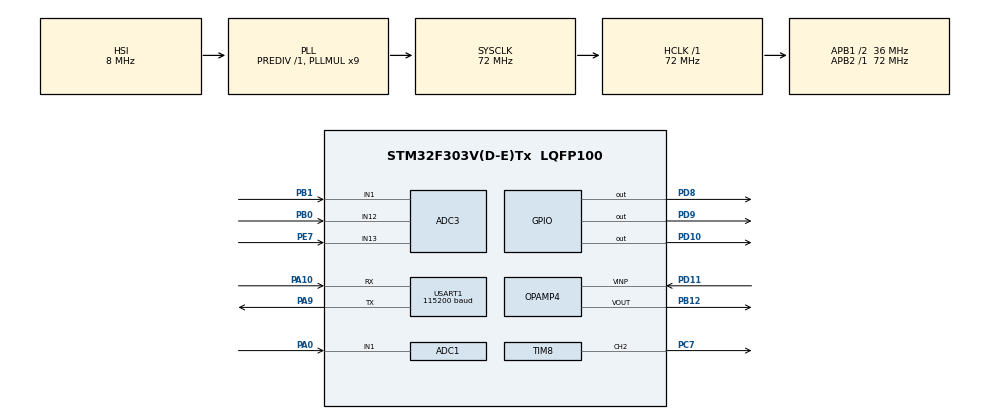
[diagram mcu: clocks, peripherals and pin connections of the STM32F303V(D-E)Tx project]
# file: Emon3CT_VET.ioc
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ADC1.Channel-0\#ChannelRegularConversion=ADC_CHANNEL_1
ADC1.ClockPrescaler=ADC_CLOCK_SYNC_PCLK_DIV2
ADC1.ContinuousConvMode=ENABLE
ADC1.DMAContinuousRequests=ENABLE
ADC1.DataAlign=ADC_DATAALIGN_RIGHT
ADC1.DiscontinuousConvMode=DISABLE
ADC1.EOCSelection=ADC_EOC_SEQ_CONV
ADC1.EnableAnalogWatchDog1=false
ADC1.EnableAnalogWatchDog2=false
ADC1.EnableAnalogWatchDog3=false
ADC1.EnableInjectedConversion=ENABLE
ADC1.EnableRegularConversion=ENABLE
ADC1.ExternalTrigConv=ADC_EXTERNALTRIGCONV_T8_TRGO2
ADC1.ExternalTrigConvEdge=ADC_EXTERNALTRIGCONVEDGE_RISING
ADC1.InjNumberOfConversion=0
ADC1.LowPowerAutoWait=DISABLE
ADC1.NbrOfConversion=1
ADC1.NbrOfConversionFlag=1
ADC1.Offset-0\#ChannelRegularConversion=0
ADC1.OffsetNumber-0\#ChannelRegularConversion=ADC_OFFSET_NONE
ADC1.Overrun=ADC_OVR_DATA_OVERWRITTEN
ADC1.Rank-0\#ChannelRegularConversion=1
ADC1.Resolution=ADC_RESOLUTION_12B
ADC1.SamplingTime-0\#ChannelRegularConversion=ADC_SAMPLETIME_601CYCLES_5
ADC1.ScanConvMode=ADC_SCAN_DISABLE
ADC1.master=1
ADC3.Channel-0\#ChannelRegularConversion=ADC_CHANNEL_12
ADC3.Channel-1\#ChannelRegularConversion=ADC_CHANNEL_1
ADC3.Channel-2\#ChannelRegularConversion=ADC_CHANNEL_13
ADC3.ClockPrescaler=ADC_CLOCK_SYNC_PCLK_DIV2
ADC3.ContinuousConvMode=ENABLE
ADC3.DMAContinuousRequests=ENABLE
ADC3.EOCSelection=ADC_EOC_SEQ_CONV
ADC3.ExternalTrigConv=ADC_EXTERNALTRIGCONV_T8_TRGO2
ADC3.NbrOfConversion=3
ADC3.NbrOfConversionFlag=1
ADC3.Offset-0\#ChannelRegularConversion=0
ADC3.Offset-1\#ChannelRegularConversion=0
ADC3.Offset-2\#ChannelRegularConversion=0
ADC3.OffsetNumber-0\#ChannelRegularConversion=ADC_OFFSET_NONE
ADC3.OffsetNumber-1\#ChannelRegularConversion=ADC_OFFSET_NONE
ADC3.OffsetNumber-2\#ChannelRegularConversion=ADC_OFFSET_NONE
ADC3.Rank-0\#ChannelRegularConversion=1
ADC3.Rank-1\#ChannelRegularConversion=2
ADC3.Rank-2\#ChannelRegularConversion=3
ADC3.SamplingTime-0\#ChannelRegularConversion=ADC_SAMPLETIME_601CYCLES_5
ADC3.SamplingTime-1\#ChannelRegularConversion=ADC_SAMPLETIME_601CYCLES_5
ADC3.SamplingTime-2\#ChannelRegularConversion=ADC_SAMPLETIME_601CYCLES_5
ADC3.master=1
Dma.ADC1.1.Direction=DMA_PERIPH_TO_MEMORY
Dma.ADC1.1.Instance=DMA1_Channel1
Dma.ADC1.1.MemDataAlignment=DMA_MDATAALIGN_HALFWORD
Dma.ADC1.1.MemInc=DMA_MINC_ENABLE
Dma.ADC1.1.Mode=DMA_CIRCULAR
Dma.ADC1.1.PeriphDataAlignment=DMA_PDATAALIGN_HALFWORD
Dma.ADC1.1.PeriphInc=DMA_PINC_DISABLE
Dma.ADC1.1.Priority=DMA_PRIORITY_HIGH
Dma.ADC3.0.Direction=DMA_PERIPH_TO_MEMORY
Dma.ADC3.0.Instance=DMA2_Channel5
Dma.ADC3.0.MemDataAlignment=DMA_MDATAALIGN_HALFWORD
Dma.ADC3.0.MemInc=DMA_MINC_ENABLE
Dma.ADC3.0.Mode=DMA_CIRCULAR
Dma.ADC3.0.PeriphDataAlignment=DMA_PDATAALIGN_HALFWORD
Dma.ADC3.0.PeriphInc=DMA_PINC_DISABLE
Dma.ADC3.0.Priority=DMA_PRIORITY_HIGH
Dma.Request0=ADC3
Dma.Request1=ADC1
Mcu.Family=STM32F3
Mcu.Name=STM32F303V(D-E)Tx
Mcu.Package=LQFP100
NVIC.DMA1_Channel1_IRQn=true\:0\:0\:false\:false\:true\:false
NVIC.DMA2_Channel5_IRQn=true\:0\:0\:false\:false\:true\:false
NVIC.PriorityGroup=NVIC_PRIORITYGROUP_4
PA0.Mode=IN1-Single-Ended
PA0.Signal=ADC1_IN1
PA10.Mode=Asynchronous
PA10.Signal=USART1_RX
PA9.Mode=Asynchronous
PA9.Signal=USART1_TX
PB0.Mode=IN12-Single-Ended
PB0.Signal=ADC3_IN12
PB1.Mode=IN1-Single-Ended
PB1.Signal=ADC3_IN1
PB12.Mode=Follower
PB12.Signal=OPAMP4_VOUT
PC7.Signal=S_TIM8_CH2
PD10.Signal=GPIO_Output
PD11.Mode=Follower
PD11.Signal=OPAMP4_VINP
PD8.Signal=GPIO_Output
PD9.Signal=GPIO_Output
PE7.Mode=IN13-Single-Ended
PE7.Signal=ADC3_IN13
PF0-OSC_IN.Mode=HSE-External-Oscillator
PF0-OSC_IN.Signal=RCC_OSC_IN
PF1-OSC_OUT.Mode=HSE-External-Oscillator
PF1-OSC_OUT.Signal=RCC_OSC_OUT
ProjectManager.HeapSize=0x200
ProjectManager.StackSize=0x400
ProjectManager.TargetToolchain=Makefile
RCC.AHBFreq_Value=72000000
RCC.APB1CLKDivider=RCC_HCLK_DIV2
RCC.APB1Freq_Value=36000000
RCC.APB1TimFreq_Value=72000000
RCC.APB2Freq_Value=72000000
RCC.APB2TimFreq_Value=72000000
RCC.CortexFreq_Value=72000000
RCC.HCLKFreq_Value=72000000
RCC.HSE_VALUE=8000000
RCC.HSI_VALUE=8000000
RCC.LSE_VALUE=32768
RCC.PLLMUL=RCC_PLL_MUL9
RCC.SYSCLKFreq_VALUE=72000000
RCC.SYSCLKSourceVirtual=RCC_SYSCLKSOURCE_PLLCLK
RCC.USBFreq_Value=72000000
SH.S_TIM8_CH2.0=TIM8_CH2,PWM Generation2 CH2
TIM8.Channel-PWM\ Generation2\ CH2=TIM_CHANNEL_2
TIM8.Period=9999
TIM8.Prescaler=71
TIM8.TIM_MasterOutputTrigger2=TIM_TRGO2_OC2REF
USART1.BaudRate=115200
USART1.VirtualMode-Asynchronous=VM_ASYNC
board=custom

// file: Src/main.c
/**
  ******************************************************************************
  * @file           : main.c
  * @brief          : Main program body
  ******************************************************************************
  ** This notice applies to any and all portions of this file
  * that are not between comment pairs USER CODE BEGIN and
  * USER CODE END. Other portions of this file, whether
  * inserted by the user or by software development tools
  * are owned by their respective copyright owners.
  *
  * COPYRIGHT(c) 2020 STMicroelectronics
  *
  * Redistribution and use in source and binary forms, with or without modification,
  * are permitted provided that the following conditions are met:
  *   1. Redistributions of source code must retain the above copyright notice,
  *      this list of conditions and the following disclaimer.
  *   2. Redistributions in binary form must reproduce the above copyright notice,
  *      this list of conditions and the following disclaimer in the documentation
  *      and/or other materials provided with the distribution.
  *   3. Neither the name of STMicroelectronics nor the names of its contributors
  *      may be used to endorse or promote products derived from this software
  *      without specific prior written permission.
  *
  * THIS SOFTWARE IS PROVIDED BY THE COPYRIGHT HOLDERS AND CONTRIBUTORS "AS IS"
  * AND ANY EXPRESS OR IMPLIED WARRANTIES, INCLUDING, BUT NOT LIMITED TO, THE
  * IMPLIED WARRANTIES OF MERCHANTABILITY AND FITNESS FOR A PARTICULAR PURPOSE ARE
  * DISCLAIMED. IN NO EVENT SHALL THE COPYRIGHT HOLDER OR CONTRIBUTORS BE LIABLE
  * FOR ANY DIRECT, INDIRECT, INCIDENTAL, SPECIAL, EXEMPLARY, OR CONSEQUENTIAL
  * DAMAGES (INCLUDING, BUT NOT LIMITED TO, PROCUREMENT OF SUBSTITUTE GOODS OR
  * SERVICES; LOSS OF USE, DATA, OR PROFITS; OR BUSINESS INTERRUPTION) HOWEVER
  * CAUSED AND ON ANY THEORY OF LIABILITY, WHETHER IN CONTRACT, STRICT LIABILITY,
  * OR TORT (INCLUDING NEGLIGENCE OR OTHERWISE) ARISING IN ANY WAY OUT OF THE USE
  * OF THIS SOFTWARE, EVEN IF ADVISED OF THE POSSIBILITY OF SUCH DAMAGE.
  *
  ******************************************************************************
  */
#include "main.h"
#include "stm32f3xx_hal.h"
#include "adc.h"
#include "dma.h"
#include "opamp.h"
#include "tim.h"
#include "usart.h"
#include "gpio.h"

/* USER CODE BEGIN Includes */
#include <string.h>
#include <math.h>
/* USER CODE END Includes */

/* USER CODE BEGIN PV */
/* Private variables ---------------------------------------------------------*/

#define true 1
#define false 0
#define MID_ADC_READING 2048

// Serial output buffer
char log_buffer[100];

// Flag
int8_t readings_ready = false;

// Calibration
double VCAL = 268.97;
double ICAL = 90.91;

// ISR accumulators
typedef struct channel_ {
  int64_t sum_P;
  uint64_t sum_V_sq;
  uint64_t sum_I_sq;
  int64_t sum_V;
  int64_t sum_I;
  uint64_t count;

  uint8_t positive_V;
  uint8_t last_positive_V;
  uint8_t cycles;
} channel_t;

static channel_t channels[3];
static channel_t channels_copy[3];

/* USER CODE END PV */

void SystemClock_Config(void);

/* USER CODE BEGIN PFP */
/* Private function prototypes -----------------------------------------------*/

/* USER CODE END PFP */

/* USER CODE BEGIN 0 */
void process_frame(uint16_t offset)
{
  int32_t sample_V, sample_I, signed_V, signed_I;

  // HAL_GPIO_WritePin(GPIOB, GPIO_PIN_5, GPIO_PIN_SET);
  for (int i=0; i<3000; i+=3) {
    // Cycle through channels
    for (int n=0; n<3; n++) {
      channel_t* channel = &channels[n];

      // ----------------------------------------
      // Voltage
      sample_V = adc1_dma_buff[offset+i+n];
      signed_V = sample_V - MID_ADC_READING;
      channel->sum_V += signed_V;
      channel->sum_V_sq += signed_V * signed_V;
      // ----------------------------------------
      // Current
      sample_I = adc3_dma_buff[offset+i+n];
      signed_I = sample_I - MID_ADC_READING;
      channel->sum_I += signed_I;
      channel->sum_I_sq += signed_I * signed_I;
      // ----------------------------------------
      // Power
      channel->sum_P += signed_V * signed_I;

      channel->count ++;

      // Zero crossing detection
      channel->last_positive_V = channel->positive_V;
      if (signed_V > 0) channel->positive_V = true; else channel->positive_V = false;
      if (!channel->last_positive_V && channel->positive_V) channel->cycles++;

      // 125 cycles or 2.5 seconds
      if (channel->cycles>=125) {
        channel->cycles = 0;

        channel_t* channel_copy = &channels_copy[n];
        // Copy accumulators for use in main loop
        memcpy ((void*)channel_copy, (void*)channel, sizeof(channel_t));
        // Reset accumulators to zero ready for next set of measurements
        memset((void*)channel, 0, sizeof(channel_t));

        if (n==2) {
          readings_ready = true;
        }
      }
    }
  }
  // HAL_GPIO_WritePin(GPIOB, GPIO_PIN_5, GPIO_PIN_RESET);
}

/* USER CODE END 0 */

int main(void)
{

  /* MCU Configuration----------------------------------------------------------*/

  /* Reset of all peripherals, Initializes the Flash interface and the Systick. */
  HAL_Init();

  /* USER CODE BEGIN Init */
  double V_RATIO = VCAL * (3.3 / 4096.0);
  double I_RATIO = ICAL * (3.3 / 4096.0);
  /* USER CODE END Init */

  /* Configure the system clock */
  SystemClock_Config();

  /* Initialize all configured peripherals */
  MX_GPIO_Init();
  MX_DMA_Init();
  MX_USART1_UART_Init();
  MX_ADC1_Init();
  MX_ADC3_Init();
  MX_TIM8_Init();
  MX_OPAMP4_Init();
  /* USER CODE BEGIN 2 */

  HAL_OPAMP_Start(&hopamp4);

  sprintf(log_buffer,"CH\tVrms\tIrms\tRP\tAP\tPF\tCount\r\n");
  debug_printf(log_buffer);

  start_ADCs();

  /* USER CODE END 2 */

  /* Infinite loop */
  /* USER CODE BEGIN WHILE */
  while (1)
  {
    if (conv_hfcplt_flag) {
      conv_hfcplt_flag = false;
      process_frame(0);
    }

    if (conv_cplt_flag)  {
      conv_cplt_flag = false;
      process_frame(3000);
    }

     if (readings_ready) {
       readings_ready = false;

       for (int n=0; n<3; n++) {
         channel_t* chn = &channels_copy[n];

         double Vmean = chn->sum_V * (1.0 / chn->count);
         double Imean = chn->sum_I * (1.0 / chn->count);

         chn->sum_V_sq *= (1.0 / chn->count);
         chn->sum_V_sq -= (Vmean*Vmean);
         double Vrms = V_RATIO * sqrt((double)chn->sum_V_sq);

         chn->sum_I_sq *= (1.0 / chn->count);
         chn->sum_I_sq -= (Imean*Imean);
         double Irms = I_RATIO * sqrt((double)chn->sum_I_sq);

         double mean_P = (chn->sum_P * (1.0 / chn->count)) - (Vmean*Imean);
         double realPower = V_RATIO * I_RATIO * mean_P;

         double apparentPower = Vrms * Irms;
         double powerFactor = realPower / apparentPower;
         /*
         Vrms = 242;
         Irms = 1;
         realPower = 100;
         apparentPower = 200;
         powerFactor = 2;*/

         sprintf(log_buffer,"CH:%d\t%.2f\t%.3f\t%.1f\t%.1f\t%.3f\t%d\r\n", n, Vrms, Irms, realPower, apparentPower, powerFactor, chn->count);
         debug_printf(log_buffer);

       }

       sprintf(log_buffer,"\r\n");
       debug_printf(log_buffer);
     }
  /* USER CODE END WHILE */

  }

}

void SystemClock_Config(void)
{

  RCC_OscInitTypeDef RCC_OscInitStruct;
  RCC_ClkInitTypeDef RCC_ClkInitStruct;
  RCC_PeriphCLKInitTypeDef PeriphClkInit;

    /**Initializes the CPU, AHB and APB busses clocks
    */
  RCC_OscInitStruct.OscillatorType = RCC_OSCILLATORTYPE_HSI;
  RCC_OscInitStruct.HSIState = RCC_HSI_ON;
  RCC_OscInitStruct.HSICalibrationValue = 16;
  RCC_OscInitStruct.PLL.PLLState = RCC_PLL_ON;
  RCC_OscInitStruct.PLL.PLLSource = RCC_PLLSOURCE_HSI;
  RCC_OscInitStruct.PLL.PLLMUL = RCC_PLL_MUL9;
  RCC_OscInitStruct.PLL.PREDIV = RCC_PREDIV_DIV1;
  if (HAL_RCC_OscConfig(&RCC_OscInitStruct) != HAL_OK)
  {
    _Error_Handler(__FILE__, __LINE__);
  }

    /**Initializes the CPU, AHB and APB busses clocks
    */
  RCC_ClkInitStruct.ClockType = RCC_CLOCKTYPE_HCLK|RCC_CLOCKTYPE_SYSCLK
                              |RCC_CLOCKTYPE_PCLK1|RCC_CLOCKTYPE_PCLK2;
  RCC_ClkInitStruct.SYSCLKSource = RCC_SYSCLKSOURCE_PLLCLK;
  RCC_ClkInitStruct.AHBCLKDivider = RCC_SYSCLK_DIV1;
  RCC_ClkInitStruct.APB1CLKDivider = RCC_HCLK_DIV2;
  RCC_ClkInitStruct.APB2CLKDivider = RCC_HCLK_DIV1;

  if (HAL_RCC_ClockConfig(&RCC_ClkInitStruct, FLASH_LATENCY_2) != HAL_OK)
  {
    _Error_Handler(__FILE__, __LINE__);
  }

  PeriphClkInit.PeriphClockSelection = RCC_PERIPHCLK_USART1|RCC_PERIPHCLK_TIM8;
  PeriphClkInit.Usart1ClockSelection = RCC_USART1CLKSOURCE_PCLK2;
  PeriphClkInit.Tim8ClockSelection = RCC_TIM8CLK_HCLK;
  if (HAL_RCCEx_PeriphCLKConfig(&PeriphClkInit) != HAL_OK)
  {
    _Error_Handler(__FILE__, __LINE__);
  }

    /**Configure the Systick interrupt time
    */
  HAL_SYSTICK_Config(HAL_RCC_GetHCLKFreq()/1000);

    /**Configure the Systick
    */
  HAL_SYSTICK_CLKSourceConfig(SYSTICK_CLKSOURCE_HCLK);

  /* SysTick_IRQn interrupt configuration */
  HAL_NVIC_SetPriority(SysTick_IRQn, 0, 0);
}

void _Error_Handler(char *file, int line)
{
  while(1)
  {
  }
}

/************************ (C) COPYRIGHT STMicroelectronics *****END OF FILE****/
